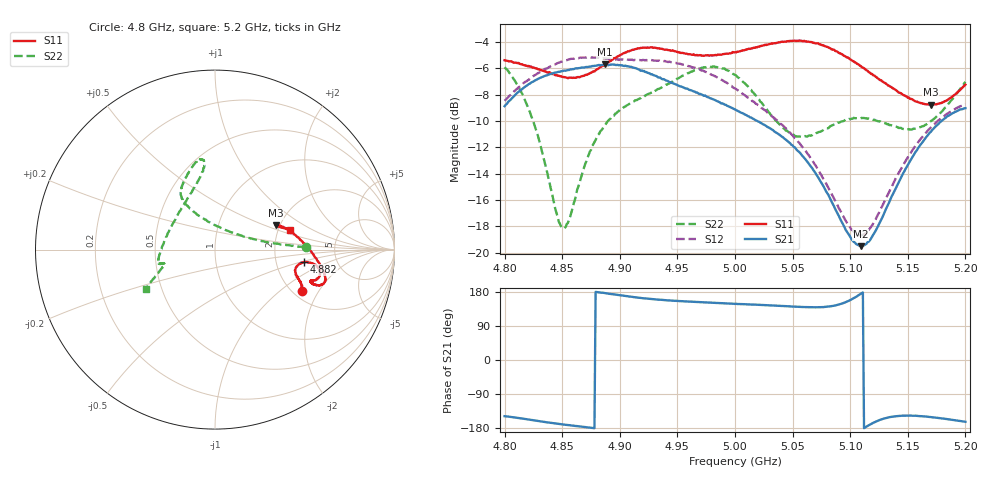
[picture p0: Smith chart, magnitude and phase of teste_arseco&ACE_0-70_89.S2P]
! Network Analyzer HP8722D
! Hewlett-Packard
! Data name: Linha & Wilkinson
! Saver's name: Rodrigo Anjos
! Comments: Teste da utilização de aquisição
! continua pelo VNA HP8722D
! Time and date: 8/5/2025 13:30
!  Frequency  S11  S21  S12  S22
# HZ  S  MA R 50
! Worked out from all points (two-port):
!   401 points, 4.8 GHz to 5.2 GHz, reference 50 ohm
!   highest |S21| = -5.70 dB at 4.887 GHz (marker M1); lowest = -19.5 dB at 5.109 GHz (marker M2)
!   |S21| within 3 dB of the highest: 4.802 GHz to 4.99 GHz (188.3 MHz wide, 3.85 % of centre)
!   lowest |S11| = -8.8 dB at 5.17 GHz (marker M3), VSWR 2.15, Z = 95 + j29.8 ohm
!   |S11| at or under -10 dB: nowhere
!   |S22| runs from -18.2 to -5.8 dB; largest |S21 - S12| = 1.1
!   S11 on the Smith chart (normalised r, x): 4.8 GHz: 2.24, -1.45; 4.882 GHz: 2.91, -0.54; 5.2 GHz: 2.33, +0.63
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4.8e9  0.5378 -25.4  0.3599 -148.3  0.3775 11.1  0.5064 1.6
4.814e9  0.5197 -22.2  0.4147 -154.0  0.4302 9.2  0.4104 3.4
4.824e9  0.5047 -20.4  0.4444 -158.5  0.4643 7.6  0.3227 6.3
4.849e9  0.4673 -16.2  0.4885 -169.5  0.5308 3.9  0.1258 56.6
4.855e9  0.4595 -14.5  0.4935 -171.7  0.5399 2.7  0.1297 84.1
4.867e9  0.4675 -11.1  0.5045 -176.0  0.5498 1.1  0.197 112.8
4.882e9  0.5023 -7.9  0.5161 178.4  0.5502 -0.0  0.2824 122.1
4.887e9  0.5183 -7.7  0.5185 176.5  0.5463 -0.2  0.3042 122.8
4.911e9  0.5894 -10.4  0.5051 166.6  0.5403 0.2  0.3729 120.8
4.934e9  0.5971 -15.5  0.4622 159.1  0.5366 -1.0  0.4189 114.1
4.975e9  0.5612 -18.5  0.3922 151.9  0.4846 -4.6  0.5065 100.0
5e9  0.5769 -19.1  0.3499 148.0  0.4208 -4.7  0.4732 97.4
5.018e9  0.6028 -19.1  0.3179 146.0  0.3677 -2.0  0.3953 103.5
5.044e9  0.6331 -17.4  0.2688 142.0  0.2964 3.4  0.291 131.2
5.067e9  0.6291 -13.3  0.2093 139.2  0.2245 9.8  0.2793 164.5
5.099e9  0.5467 -2.5  0.1165 156.4  0.1265 38.0  0.322 -169.6
5.109e9  0.5115 2.0  0.1058 174.4  0.116 57.4  0.3237 -166.8
5.119e9  0.4767 7.0  0.1149 -167.2  0.1268 77.3  0.3207 -165.9
5.134e9  0.4293 14.1  0.1558 -151.0  0.1709 94.8  0.3049 -165.3
5.152e9  0.3834 20.2  0.2229 -146.8  0.237 101.9  0.2932 -164.5
5.17e9  0.3645 21.9  0.2877 -150.6  0.2985 103.2  0.3156 -160.5
5.2e9  0.4345 14.7  0.3537 -163.0  0.3666 103.7  0.4452 -150.2
